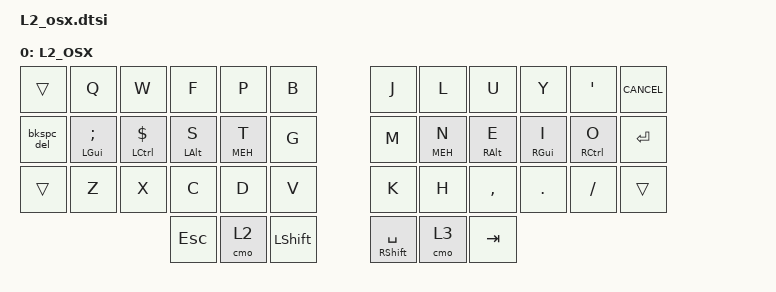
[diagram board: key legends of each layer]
/**
 * Numeric, Navigation and Media Controls Layer
 */

/ {
  keymap {
    compatible = "zmk,keymap";

    layer_2_osx {
      label = "L2_OSX";
      bindings = <
// ╭───────────────┬───────────────┬───────────────┬───────────────┬───────────────┬───────────────╮   ╭───────────────┬───────────────┬───────────────┬───────────────┬───────────────┬───────────────╮
//  0               1               2               3               4               5                   6               7               8               9               10              11
    &trans          &kp Q           &kp W           &kp F           &kp P           &kp B               &kp J           &kp L           &kp U           &kp Y           &kp SQT         &kp K_CANCEL
// ├───────────────├───────────────┼───────────────┼───────────────┼───────────────┼───────────────┤   ├───────────────├───────────────┼───────────────┼───────────────┼───────────────┼───────────────┤
//  12              13              14              15              16              17                  18              19              20              21              22              23
    &bkspc_del  &mt LGUI SEMICOLON &mt LCTRL DOLLAR &mt LALT S      &mt MEH T       &kp G               &kp M           &mt MEH N       &mt RALT E      &mt RGUI I      &mt RCTRL O     &kp ENTER
// ├───────────────├───────────────┼───────────────┼───────────────┼───────────────┼───────────────┤   ├───────────────├───────────────┼───────────────┼───────────────┼───────────────┼───────────────┤
//  24              25              26              27              28              29                  30              31              32              33              34              35
    &trans          &kp Z           &kp X           &kp C           &kp D           &kp V               &kp K           &kp H           &kp COMMA       &kp DOT         &kp SLASH       &trans
// ╰───────────────┴───────────────┴───────────────┼───────────────┼───────────────┼───────────────┤   ├───────────────├───────────────┼───────────────┼───────────────┴───────────────┴───────────────╯
//                                                  36              37              38                  39              40              41
                                                    &kp ESC         &cmo L2         &kp LSHFT           &mt RSHFT SPACE &cmo L3         &kp TAB
//                                                 ╰───────────────┴───────────────┴───────────────╯   ╰───────────────┴───────────────┴───────────────╯
      >;
    };
  };
};
